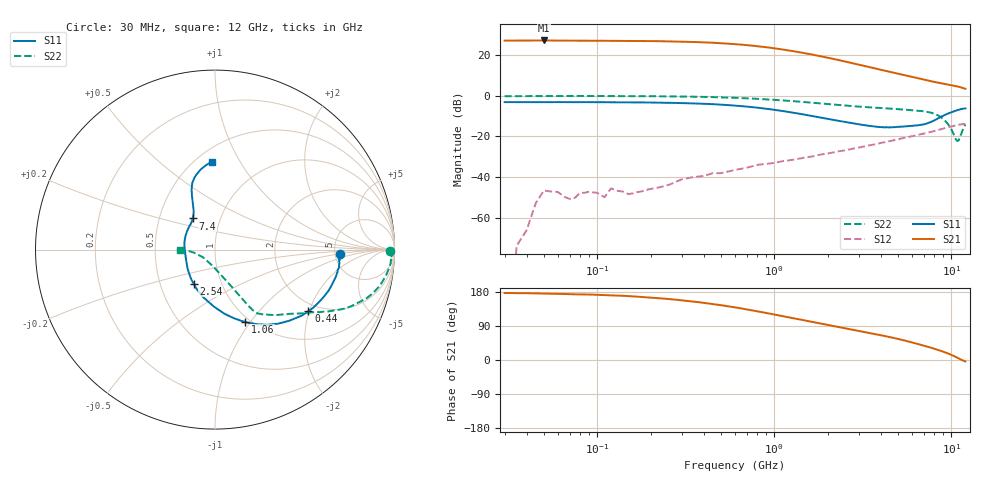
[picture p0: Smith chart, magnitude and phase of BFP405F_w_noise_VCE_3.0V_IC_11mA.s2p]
! Infineon Technologies  Discrete & RF Semiconductors
! BFP405F
! VCE =  3.0 V,  IC =  11 mA
! Common Emitter S-Parameters:  Nov 2015
# GHz  S  MA  R  50
!  f  S11  S21  S12  S22
! GHz  MAG  ANG  MAG  ANG  MAG  ANG  MAG  ANG
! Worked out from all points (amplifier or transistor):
!   239 points, 30 MHz to 12 GHz, reference 50 ohm
!   highest |S21| = 27.2 dB at 50 MHz (marker M1)
!   |S21| within 3 dB of that: start of sweep to 835.6 MHz
!   lowest NFmin = 1.74 dB at 450 MHz
!   S11 on the Smith chart (normalised r, x): 30 MHz: 5.55, -0.55; 440 MHz: 1.76, -1.98; 1.06 GHz: 0.95, -0.94; 2.54 GHz: 0.74, -0.29; 7.4 GHz: 0.74, +0.27; 12 GHz: 0.60, +0.77
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0.03  0.6974 -2.1  22.74 176.7  0 0.0  0.9763 -0.5
0.04  0.6959 -2.8  22.74 176.3  0.0005 169.4  0.9815 -0.9
0.05  0.6938 -4.5  22.91 175.3  0.0047 53.2  0.9865 -1.3
0.085  0.6973 -6.5  22.56 172.9  0.0041 82.3  0.9862 -2.5
0.145  0.6914 -11.6  22.42 169.1  0.0041 86.6  0.9812 -4.6
0.2  0.6821 -15.9  22.23 164.5  0.0051 80.1  0.9746 -6.4
0.24  0.6753 -18.9  21.86 161.9  0.006 89.6  0.9686 -7.7
0.32  0.6554 -24.9  21.29 156.2  0.0093 76.5  0.9535 -10.2
0.44  0.6238 -33.4  20.23 148.3  0.0121 77.2  0.9293 -13.5
0.6  0.5734 -43.7  18.6 138.7  0.015 74.5  0.8903 -17.5
0.8  0.5106 -55.1  16.55 128.5  0.0199 69.8  0.84 -21.2
1.06  0.4355 -67.5  14.18 117.8  0.0236 69.9  0.7804 -25.2
1.3  0.3782 -78.0  12.35 109.5  0.0269 67.8  0.7325 -27.8
1.64  0.3171 -91.1  10.28 100.6  0.0322 67.5  0.6757 -31.0
2.1  0.2603 -107.9  8.271 90.7  0.0396 66.9  0.616 -35.2
2.54  0.2241 -122.3  6.884 83.3  0.0457 65.3  0.5735 -38.5
3.2  0.1898 -142.0  5.461 74.2  0.0563 64.0  0.5302 -42.7
4.5  0.168 -175.7  3.866 60.4  0.0768 60.3  0.4844 -48.8
7.4  0.2138 125.6  2.358 34.5  0.1244 49.5  0.3974 -58.1
9.2  0.3386 112.4  1.947 20.2  0.1593 40.7  0.2446 -64.5
10.8  0.4416 102.0  1.699 6.1  0.1905 30.7  0.0768 -126.5
12  0.4885 91.7  1.483 -3.9  0.2048 23.9  0.1975 -179.5
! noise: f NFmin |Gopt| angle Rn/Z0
0.45  1.74  0.18  5  0.33
0.9  1.75  0.17  8  0.34
1.5  1.81  0.15  13  0.24
1.9  1.84  0.13  20  0.28
2.4  1.98  0.12  27  0.33
3  2.05  0.1  39  0.35
3.5  2.11  0.07  44  0.43
4.5  2.28  0.06  40  0.2
5.5  2.5  0.03  17  0.06
